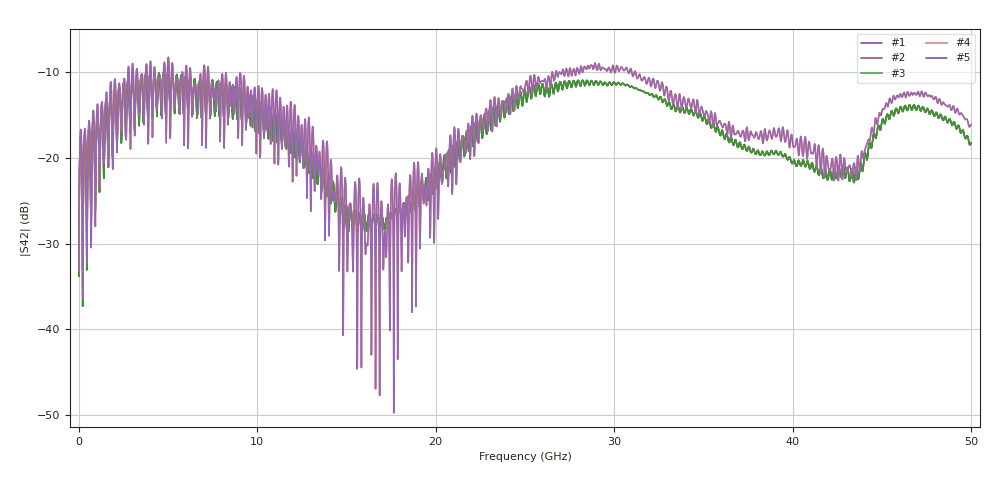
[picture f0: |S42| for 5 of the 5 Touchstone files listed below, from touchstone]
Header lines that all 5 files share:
# GHz S MA R 50
! S-Parameters data
! Freq  magS11  angS11  magS12  angS12  magS13  angS13  magS14  angS14
!  magS21  angS21  magS22  angS22  magS23  angS23  magS24  angS24
!  magS31  angS31  magS32  angS32  magS33  angS33  magS34  angS34
!  magS41  angS41  magS42  angS42  magS43  angS43  magS44  angS44
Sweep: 10 MHz to 50 GHz
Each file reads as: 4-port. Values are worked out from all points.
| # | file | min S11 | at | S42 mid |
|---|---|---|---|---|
| 1 | C2M__Z100_IL13_BC_BOR_N_N_N_FEXT3.s4p | -59.3 dB | 17.72 GHz | -12.1 dB at 25.01 GHz |
| 2 | C2M__Z100_IL13_BC_BOR_N_N_N_NEXT2.s4p | -46.6 dB | 240 MHz | -12.1 dB at 25.01 GHz |
| 3 | C2M__Z100_IL13_BC_BOR_N_N_N_NEXT4.s4p | -45.0 dB | 240 MHz | -12.1 dB at 25.01 GHz |
| 4 | C2M__Z100_IL14_WC_BOR_H_L_H_NEXT2.s4p | -45.2 dB | 330 MHz | -11.6 dB at 25.01 GHz |
| 5 | C2M__Z100_IL14_WC_BOR_H_L_H_NEXT3.s4p | -51.7 dB | 330 MHz | -11.6 dB at 25.01 GHz |
